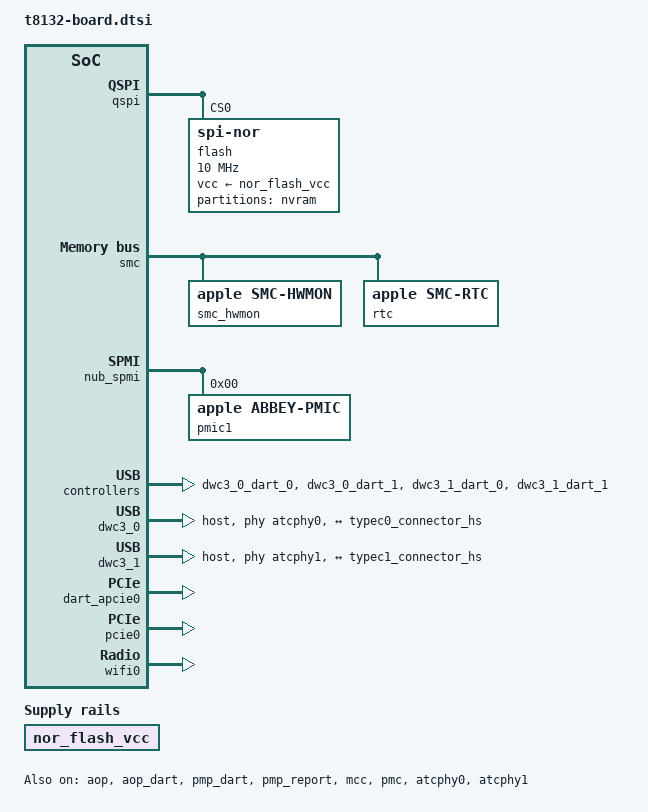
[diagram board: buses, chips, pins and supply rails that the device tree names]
// SPDX-License-Identifier: GPL-2.0+ OR MIT
/*
 * SoC-level wiring shared by the full T8132 board trees: the boot loader
 * handoffs, the coprocessors, the boot NOR, the radio port, the PMU and
 * the first two ATCs. The values match the J713, J604 and J773g ADTs.
 * The J713 still carries its own copy in its board file.
 *
 * Boards provide the Type-C connectors typec0 and typec1 (endpoint labels
 * typecN_connector_hs and typecN_connector_ss) and the radio's
 * brcm,board-type.
 *
 * Copyright The Asahi Linux Contributors
 */

#include <dt-bindings/gpio/gpio.h>
#include <dt-bindings/phy/phy.h>
#include <dt-bindings/spmi/spmi.h>

/ {
	aliases {
		sep = &sep;
		ans = &nvme;
		ans-mbox = &ans_mbox;
		atcphy0 = &atcphy0;
		atcphy1 = &atcphy1;
		bluetooth0 = &bluetooth0;
		nvram = &nvram;
		pmu-primary = &pmic1;
		pmp = &pmp;
		sart-ans = &sart;
		spmi-primary = &nub_spmi;
		wifi0 = &wifi0;
	};

	chosen {
		linux-enablement-mac,disk-boot;
		linux-enablement-mac,dapf-handoff = "/arm-io/aop", "/arm-io/pmp";
		linux-enablement-mac,dapf-power-on-handoff = "/arm-io/pmp";
	};

	/*
	 * The boot NOR runs from a PMU rail that is on whenever the SoC is
	 * and that no OS switches. The ADT gives the flash no supply.
	 */
	nor_flash_vcc: regulator-nor-flash-vcc {
		compatible = "regulator-fixed";
		regulator-name = "nor-flash-vcc";
		regulator-always-on;
	};
};

/*
 * m1n1 programs the AOP DART's DAPF and reserves the firmware segments and
 * the DAPF windows in memory-region when /chosen asks for the AOP's handoff,
 * or disables the AOP.
 */
&aop {
	status = "okay";
};

&aop_dart {
	status = "okay";
};

&aop_mbox {
	status = "okay";
	/* A periodic report need not wake the system. */
	apple,hold-rx-in-sleep;
};

&admac0 {
	status = "okay";
};

&admac1 {
	status = "okay";
};

/* These Macs have fans; the SMC owns their cooling. */
&cpufreq_e {
	status = "okay";
};

&cpufreq_p {
	status = "okay";
};

&cpuidle {
	status = "okay";
};

&qspi {
	status = "okay";

	flash@0 {
		compatible = "jedec,spi-nor";
		reg = <0>;
		spi-max-frequency = <10000000>;
		vcc-supply = <&nor_flash_vcc>;
		spi-rx-bus-width = <1>;
		spi-tx-bus-width = <1>;

		partitions {
			compatible = "fixed-partitions";
			#address-cells = <1>;
			#size-cells = <1>;

			nvram: partition@700000 {
				label = "nvram";
				/* ADT /arm-io/qspi/spinor/anvram, flash-relative. */
				reg = <0x700000 0x100000>;
			};
		};
	};
};

&pmp_dart {
	status = "okay";
};

&pmp_report {
	status = "okay";
};

&pmp_mbox {
	status = "okay";
};

&mcc {
	status = "okay";
	apple,boot-dma-devices = <&pmp>;
};

&pmc {
	status = "okay";
	apple,static-voters = <3>;
};

&sep_mbox {
	status = "okay";
};

&smc {
	status = "okay";

	smc_hwmon: hwmon {
		compatible = "apple,smc-hwmon";
	};

	rtc {
		compatible = "apple,smc-rtc";
		nvmem-cells = <&rtc_offset>;
		nvmem-cell-names = "rtc_offset";
	};

	reboot {
		compatible = "apple,t8132-smc-reboot", "apple,smc-reboot";
		nvmem-cells = <&shutdown_flag>, <&boot_stage>,
			<&boot_error_count>, <&panic_count>;
		nvmem-cell-names = "shutdown_flag", "boot_stage",
			"boot_error_count", "panic_count";
	};
};

&smc_mbox {
	status = "okay";
};

&nub_spmi {
	status = "okay";

	pmic1: pmic@0 {
		compatible = "apple,abbey-pmic", "apple,spmi-nvmem";
		reg = <0x0 SPMI_USID>; /* To be filled by loader */

		nvmem-layout {
			compatible = "fixed-layout";
			#address-cells = <1>;
			#size-cells = <1>;

			rtc_offset: rtc-offset@2100 {
				reg = <0x2100 0x6>;
			};

			boot_stage: boot-stage@f801 {
				reg = <0xf801 0x1>;
			};

			boot_error_count: boot-error-count@f802,0 {
				reg = <0xf802 0x1>;
				bits = <0 4>;
			};

			panic_count: panic-count@f802,4 {
				reg = <0xf802 0x1>;
				bits = <4 4>;
			};

			shutdown_flag: shutdown-flag@f80f,3 {
				reg = <0xf80f 0x1>;
				bits = <3 1>;
			};
		};
	};
};

/* The port controllers of ATC0 and ATC1 sit on this SPMI bus. */
&nub_spmi_a0 {
	status = "okay";
};

&atcphy0 {
	status = "okay";
	/* Leave the display crossbar at core + 0x4c000 to its own driver. */
	reg = <0x4 0x02a90000 0x0 0x4000>,
	      <0x4 0x02a84000 0x0 0x4000>,
	      <0x4 0x03000000 0x0 0x24000>,
	      <0x4 0x00000000 0x0 0x8000>,
	      <0x4 0x00020000 0x0 0x4000>,
	      <0x4 0x03044000 0x0 0x4000>,
	      <0x4 0x03050000 0x0 0x4000>;
	reg-names = "usb2phy", "pipehandler", "core", "axi2af", "lioa",
		    "fabric", "common-config";

	ports {
		#address-cells = <1>;
		#size-cells = <0>;

		port@0 {
			reg = <0>;
			atcphy0_typec_lanes: endpoint {
				remote-endpoint = <&typec0_connector_ss>;
			};
		};
	};
};

&dwc3_0_dart_0 {
	status = "okay";
};

&dwc3_0_dart_1 {
	status = "okay";
};

&dwc3_0 {
	status = "okay";
	dr_mode = "host";
	maximum-speed = "super-speed";
	phys = <&atcphy0 PHY_TYPE_USB2>, <&atcphy0 PHY_TYPE_USB3>;
	phy-names = "usb2-phy", "usb3-phy";

	ports {
		#address-cells = <1>;
		#size-cells = <0>;

		port@0 {
			reg = <0>;
			dwc3_0_hs: endpoint {
				remote-endpoint = <&typec0_connector_hs>;
			};
		};
	};
};

&atcphy1 {
	status = "okay";
	/* Leave the display crossbar at core + 0x4c000 to its own driver. */
	reg = <0x4 0x0aa90000 0x0 0x4000>,
	      <0x4 0x0aa84000 0x0 0x4000>,
	      <0x4 0x0b000000 0x0 0x24000>,
	      <0x4 0x08000000 0x0 0x8000>,
	      <0x4 0x08020000 0x0 0x4000>,
	      <0x4 0x0b044000 0x0 0x4000>,
	      <0x4 0x0b050000 0x0 0x4000>;
	reg-names = "usb2phy", "pipehandler", "core", "axi2af", "lioa",
		    "fabric", "common-config";

	ports {
		#address-cells = <1>;
		#size-cells = <0>;

		port@0 {
			reg = <0>;
			atcphy1_typec_lanes: endpoint {
				remote-endpoint = <&typec1_connector_ss>;
			};
		};
	};
};

&dwc3_1_dart_0 {
	status = "okay";
};

&dwc3_1_dart_1 {
	status = "okay";
};

&dwc3_1 {
	status = "okay";
	dr_mode = "host";
	maximum-speed = "super-speed";
	phys = <&atcphy1 PHY_TYPE_USB2>, <&atcphy1 PHY_TYPE_USB3>;
	phy-names = "usb2-phy", "usb3-phy";

	ports {
		#address-cells = <1>;
		#size-cells = <0>;

		port@0 {
			reg = <0>;
			dwc3_1_hs: endpoint {
				remote-endpoint = <&typec1_connector_hs>;
			};
		};
	};
};

/*
 * The radio port: m1n1 performs the T8132 controller and PHY
 * initialization, Linux adopts the trained link and owns only the radio's
 * ordinary streams (ADT mapper-apcie0-wlan and -bt), RID-to-SID routing
 * and MSI. Power is the SMC's gP13 (ADT /amfm function-reg_on), reset AP
 * GPIO 163 (pci-bridge0 function-perst).
 */
&dart_apcie0 {
	status = "okay";
	apple,managed-sids = <1 2>;
	apple,dma-range = <0x100 0x00100000 0x0 0x3fe00000>;
};

&pcie0 {
	status = "okay";
	apple,managed-sids = <1 2>;
	iommu-map = <0x100 &dart_apcie0 1 2>;
	iommu-map-mask = <0xffff>;
};

&port00 {
	pwren-gpios = <&smc_gpio 0x13 GPIO_ACTIVE_HIGH>;
	reset-gpios = <&pinctrl_ap 163 GPIO_ACTIVE_LOW>;

	bluetooth0: bluetooth@0,1 {
		compatible = "pci14e4,5f72";
		reg = <0x10100 0x0 0x0 0x0 0x0>;
		/* Per-machine address and calibration supplied by m1n1. */
		local-bd-address = [00 00 00 00 00 00];
	};

	wifi0: wifi@0,0 {
		compatible = "pci14e4,4434";
		reg = <0x10000 0x0 0x0 0x0 0x0>;
		local-mac-address = [00 00 00 00 00 00];
		apple,antenna-sku = "XX";
	};
};
